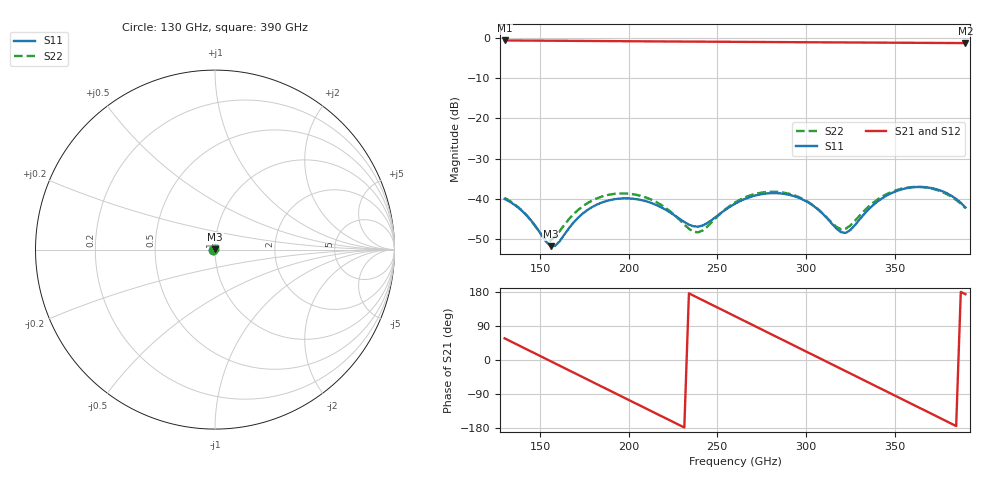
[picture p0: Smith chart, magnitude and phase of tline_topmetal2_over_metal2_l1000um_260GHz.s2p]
#  GHZ S DB R 50
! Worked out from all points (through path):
!   101 points, 130 GHz to 390 GHz, reference 50 ohm
!   highest |S21| = -0.66 dB at 130 GHz (marker M1); lowest = -1.3 dB at 390 GHz (marker M2)
!   group delay of S21, straight-line fit = 6.45 ps
!   lowest |S11| = -51.7 dB at 156 GHz (marker M3), VSWR 1.01, Z = 50.1 + j0.234 ohm
!   |S11| at or under -10 dB: start of sweep to end of sweep
!   |S22| runs from -50.2 to -37.0 dB; largest |S21 - S12| = 1.6e-12
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130  -39.94 -156.7  -0.66 57.1  -0.66 57.1  -39.68 -156.4
143  -44.29 156.2  -0.69 27.0  -0.69 27.0  -44.30 154.1
156  -51.65 63.2  -0.73 -3.2  -0.73 -3.2  -50.16 50.5
174.2  -43.53 -68.2  -0.78 -45.5  -0.78 -45.5  -41.73 -63.4
184.6  -40.88 -106.6  -0.81 -69.6  -0.81 -69.6  -39.40 -99.9
195  -39.85 -141.9  -0.84 -93.8  -0.84 -93.8  -38.59 -133.8
205.4  -40.07 -177.2  -0.87 -117.9  -0.87 -117.9  -39.03 -167.4
218.4  -42.03 135.1  -0.91 -148.0  -0.91 -148.0  -41.43 147.4
228.8  -44.89 86.6  -0.93 -172.1  -0.93 -172.1  -45.17 100.5
239.2  -46.81 16.5  -0.95 163.8  -0.95 163.8  -48.23 21.7
249.6  -44.26 -51.9  -0.98 139.6  -0.98 139.6  -44.50 -53.2
260  -41.13 -99.0  -1.00 115.5  -1.00 115.5  -40.82 -98.4
270.4  -39.22 -136.5  -1.03 91.4  -1.03 91.4  -38.82 -134.5
280.8  -38.51 -170.8  -1.06 67.2  -1.06 67.2  -38.16 -168.1
293.8  -39.32 146.8  -1.09 37.1  -1.09 37.1  -39.11 149.5
304.2  -41.65 109.6  -1.12 12.9  -1.12 12.9  -41.56 111.2
322.4  -48.37 -9.7  -1.16 -29.3  -1.16 -29.3  -47.35 -10.9
335.4  -42.52 -99.4  -1.19 -59.5  -1.19 -59.5  -41.83 -94.9
348.4  -38.48 -146.9  -1.22 -89.7  -1.22 -89.7  -38.19 -143.0
358.8  -37.14 -178.5  -1.24 -113.8  -1.24 -113.8  -37.05 -175.8
371.8  -37.33 144.1  -1.27 -144.0  -1.27 -144.0  -37.46 144.1
390  -42.05 88.3  -1.31 173.7  -1.31 173.7  -42.21 77.9
